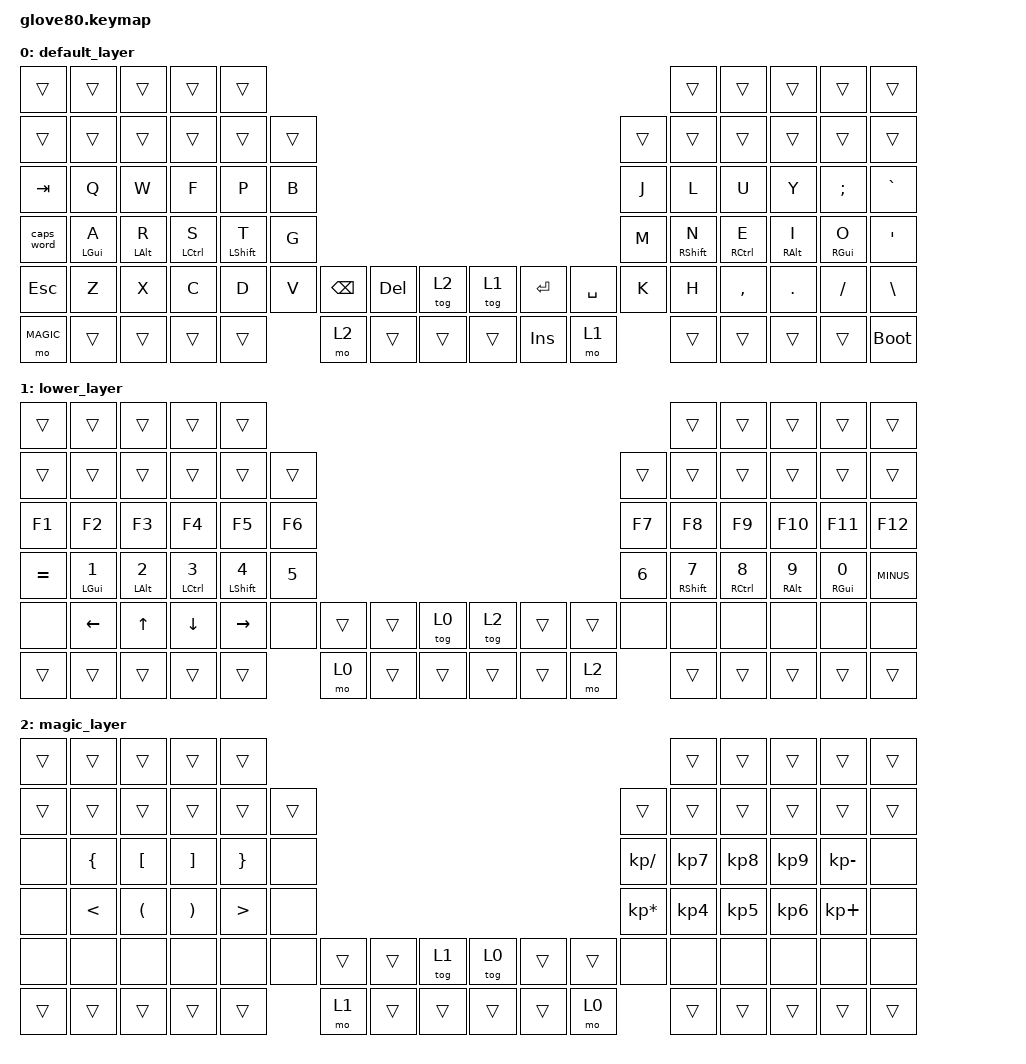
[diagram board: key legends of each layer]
/*
 * Copyright (c) 2020 The ZMK Contributors
 *
 * SPDX-License-Identifier: MIT
 */

#include <behaviors.dtsi>
#include <dt-bindings/zmk/bt.h>
#include <dt-bindings/zmk/keys.h>
#include <dt-bindings/zmk/outputs.h>
#include <dt-bindings/zmk/rgb.h>
#include "../zmk-nodefree-config/helper.h"

// layers

#define DEFAULT 0
#define LOWER 1
#define MAGIC 2

/ {
    behaviors {
        // For the "layer" key, it'd nice to be able to use it as either a shift or a toggle.
        // Configure it as a tap dance, so the first tap (or hold) is a &mo and the second tap is a &to

        layer_td: tap_dance_0 {
            compatible = "zmk,behavior-tap-dance";
            #binding-cells = <0>;
            tapping-term-ms = <200>;
            bindings = <&mo LOWER>, <&to LOWER>;
        };
        // Positional Homerow mods
        // Homerow mods that prevent accidental activations when rolling keys,
        // such as when typing `st` or `ne` on colemak-dh layouts or `as` on
        // qwerty.
        //
        // Works by only allowing a mod to activate within tapping-term if
        // it's on the opposite side of the keyboard or on the same side thumb
        // keys.

        // Further optimization using urob's timerless homerow mods method:
        // https://github.com/urob/zmk-config#timeless-homerow-mods
        hm_l: homerow_mods_left {
            compatible = "zmk,behavior-hold-tap";
            #binding-cells = <2>;
            bindings = <&kp>,  <&kp>;

            flavor = "balanced";
            tapping-term-ms = <HM_TAPPING_TERM>;
            quick-tap-ms = <175>;                // repeat on tap-into-hold
            require-prior-idle-ms = <HM_PRIOR_IDLE>;

            hold-trigger-key-positions = <KEYS_R KEYS_T>;
            hold-trigger-on-release;
        };

        hm_r: homerow_mods_right {
            compatible = "zmk,behavior-hold-tap";
            #binding-cells = <2>;
            bindings = <&kp>, <&kp>;

            flavor = "balanced";
            tapping-term-ms = <HM_TAPPING_TERM>;
            quick-tap-ms = <175>;
            require-prior-idle-ms = <HM_PRIOR_IDLE>;

            hold-trigger-key-positions = <KEYS_L KEYS_T>;
            hold-trigger-on-release;
        };


        // Positional Homerow mods for shift
        // Use faster tapping term and disable some features that may
        // cause false negatives.
        hm_shift_l: hm_shift_l {
            compatible = "zmk,behavior-hold-tap";
            #binding-cells = <2>;
            bindings = <&kp>, <&kp>;

            flavor = "balanced";
            tapping-term-ms = <HM_TAPPING_TERM_FAST>;
            quick-tap-ms = <175>;
            require-prior-idle-ms = <HM_PRIOR_IDLE>;

            hold-trigger-key-positions = <KEYS_R KEYS_T>;
            // hold-trigger-on-release;
        };

        hm_shift_r: hm_shift_r {
            compatible = "zmk,behavior-hold-tap";
            #binding-cells = <2>;
            bindings = <&kp>, <&kp>;

            flavor = "balanced";
            tapping-term-ms = <HM_TAPPING_TERM_FAST>;
            quick-tap-ms = <175>;
            require-prior-idle-ms = <HM_PRIOR_IDLE>;

            hold-trigger-key-positions = <KEYS_L KEYS_T>;
            // hold-trigger-on-release;
        };

        /*
         * Non-Positional Homerow Mods
         * Used for &mm_grescm_gui behavior on left hand.
         *
         * Usage: &hm LSHFT T
         * Tap: T
         * Tap-Tap-Hold: Repeat T
         * Hold: LSHIFT
         */
        hm: homerow_mods {
            compatible = "zmk,behavior-hold-tap";
            #binding-cells = <2>;
            bindings = <&kp>, <&kp>;

            flavor = "balanced";
            tapping-term-ms = <HM_TAPPING_TERM>;
            quick-tap-ms = <200>;
        };
    };

    macros {
        bt_0: bt_profile_macro_0 {
            compatible = "zmk,behavior-macro";
            #binding-cells = <0>;
            bindings = <&out OUT_BLE &bt BT_SEL 0>;
        };

        bt_1: bt_profile_macro_1 {
            compatible = "zmk,behavior-macro";
            #binding-cells = <0>;
            bindings = <&out OUT_BLE &bt BT_SEL 1>;
        };

        bt_2: bt_profile_macro_2 {
            compatible = "zmk,behavior-macro";
            #binding-cells = <0>;
            bindings = <&out OUT_BLE &bt BT_SEL 2>;
        };

        bt_3: bt_profile_macro_3 {
            compatible = "zmk,behavior-macro";
            #binding-cells = <0>;
            bindings = <&out OUT_BLE &bt BT_SEL 3>;
        };
    };

    keymap {
        compatible = "zmk,keymap";

        default_layer {
            // ---------------------------------------------------------------------------------------------------------------------------------
            // |  F1   |  F2 |  F3 |  F4  |  F5  |                                                               |  F6   |  F7   |  F8  |   F9  |  F10 |
            // |  =    |  1  |  2  |  3   |  4   |  5   |                                                 |  6   |   7   |   8   |  9   |   0   |   -  |
            // |  TAB  |  Q  |  W  |  E   |  R   |  T   |                                                 |  Y   |   U   |   I   |  O   |   P   |   \  |
            // |  ESC  |  A  |  S  |  D   |  F   |  G   |                                                 |  H   |   J   |   K   |  L   |   ;   |   '  |
            // |   `   |  Z  |  X  |  C   |  V   |  B   | LSHFT | LCTRL | LOWER | | LGUI  | RCTRL | RSHFT |  N   |   M   |   ,   |  .   |   /   | PGUP |
            // | MAGIC | HOME| END | LEFT | RIGHT|      | BSPC  | DEL   | LALT  | | RALT  | RET   | SPACE |      |  UP   | DOWN  |  [   |   ]   | PGDN |

            bindings = <
&trans      &trans  &trans  &trans  &trans                                                                                  &trans  &trans     &trans   &trans    &trans
&trans      &trans  &trans  &trans  &trans  &trans                                                               &trans  &trans  &trans     &trans   &trans       &trans
&kp TAB     &kp Q   &kp W   &kp F   &kp P   &kp B                                                                &kp J   &kp L   &kp U      &kp Y    &kp SEMI     &kp GRAVE
&caps_word  &hm LGUI A &hm_l LALT R &hm_l LCTRL S &hm_shift_l LSHIFT T &kp G                &kp M &hm_shift_r RSHIFT N &hm_r RCTRL E &hm_r RALT I    &hm RGUI O     &kp SQT
&kp ESC     &kp Z   &kp X   &kp C   &kp D   &kp V   &kp BACKSPACE  &kp DEL  &tog 2    &tog 1  &kp ENTER  &kp SPACE  &kp K   &kp H   &kp COMMA  &kp DOT  &kp FSLH  &kp BSLH
&mo MAGIC   &trans  &trans  &trans  &trans          &mo 2          &trans   &trans    &trans  &kp INSERT &mo 1              &trans  &trans     &trans   &trans    &bootloader
            >;
        };

        lower_layer {
            bindings = <
&trans      &trans  &trans  &trans  &trans                                                                                  &trans  &trans     &trans   &trans    &trans
&trans      &trans  &trans  &trans  &trans  &trans                                                                  &trans  &trans  &trans     &trans   &trans    &trans
&kp F1      &kp F2  &kp F3  &kp F4  &kp F5  &kp F6                                                                  &kp F7  &kp F8  &kp F9     &kp F10  &kp F11   &kp F12
&kp EQUAL   &hm LGUI N1 &hm_l LALT N2 &hm_l LCTRL N3 &hm_shift_l LSHIFT N4  &kp N5       &kp N6  &hm_shift_r RSHIFT N7 &hm_r RCTRL N8 &hm_r RALT N9 &hm RGUI N0    &MINUS
&none   &kp LEFT &kp UP  &kp DOWN &kp RIGHT &none       &trans     &trans   &tog 0    &tog 2  &trans     &trans     &none   &none   &none      &none    &none     &none
&trans      &trans  &trans  &trans  &trans              &mo 0      &trans   &trans    &trans  &trans     &mo 2              &trans  &trans     &trans   &trans    &trans
            >;
        };

        magic_layer {
            bindings = <
&trans      &trans    &trans    &trans    &trans                                                                              &trans   &trans   &trans    &trans    &trans
&trans      &trans    &trans    &trans    &trans    &trans                                                  &trans          &trans   &trans    &trans    &trans      &trans
&none       &kp LBRC  &kp LBKT  &kp RBKT  &kp RBRC  &none                                                   &kp KP_DIVIDE   &kp KP_7 &kp KP_8  &kp KP_9  &kp KP_MINUS &none
&none       &kp LT    &kp LPAR  &kp RPAR  &kp GT    &none                                                   &kp KP_MULTIPLY &kp KP_4 &kp KP_5  &kp KP_6  &kp KP_PLUS  &none
&none       &none     &none     &none     &none     &none   &trans     &trans   &tog 1    &tog 0  &trans    &trans    &none   &none   &none      &none     &none     &none
&trans      &trans    &trans    &trans    &trans            &mo 1      &trans   &trans    &trans  &trans    &mo 0             &trans   &trans    &trans    &trans    &trans
            >;
        };
    };
};
